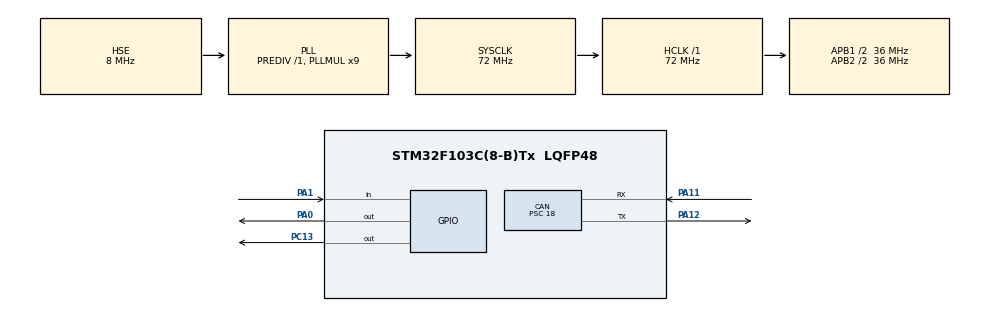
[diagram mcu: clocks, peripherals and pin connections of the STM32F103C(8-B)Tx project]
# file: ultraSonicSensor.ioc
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CAN.BS2=CAN_BS2_2TQ
CAN.CalculateBaudRate=500000
CAN.CalculateTimeBit=2000
CAN.CalculateTimeQuantum=500.0
CAN.Prescaler=18
Mcu.Family=STM32F1
Mcu.Name=STM32F103C(8-B)Tx
Mcu.Package=LQFP48
NVIC.PriorityGroup=NVIC_PRIORITYGROUP_4
PA0-WKUP.GPIO_PuPd=GPIO_NOPULL
PA0-WKUP.GPIO_Speed=GPIO_SPEED_FREQ_HIGH
PA0-WKUP.Signal=GPIO_Output
PA1.GPIO_PuPd=GPIO_NOPULL
PA1.Signal=GPIO_Input
PA11.Mode=CAN_Activate
PA11.Signal=CAN_RX
PA12.Mode=CAN_Activate
PA12.Signal=CAN_TX
PA13.Mode=Serial_Wire
PA13.Signal=SYS_JTMS-SWDIO
PA14.Mode=Serial_Wire
PA14.Signal=SYS_JTCK-SWCLK
PC13-TAMPER-RTC.GPIO_PuPd=GPIO_PULLDOWN
PC13-TAMPER-RTC.Signal=GPIO_Output
PC14-OSC32_IN.Mode=LSE-External-Oscillator
PC14-OSC32_IN.Signal=RCC_OSC32_IN
PC15-OSC32_OUT.Mode=LSE-External-Oscillator
PC15-OSC32_OUT.Signal=RCC_OSC32_OUT
PD0-OSC_IN.Mode=HSE-External-Oscillator
PD0-OSC_IN.Signal=RCC_OSC_IN
PD1-OSC_OUT.Mode=HSE-External-Oscillator
PD1-OSC_OUT.Signal=RCC_OSC_OUT
ProjectManager.HeapSize=0x200
ProjectManager.StackSize=0x400
ProjectManager.TargetToolchain=MDK-ARM V5.32
RCC.AHBFreq_Value=72000000
RCC.APB1CLKDivider=RCC_HCLK_DIV2
RCC.APB1Freq_Value=36000000
RCC.APB1TimFreq_Value=72000000
RCC.APB2CLKDivider=RCC_HCLK_DIV2
RCC.APB2Freq_Value=36000000
RCC.APB2TimFreq_Value=72000000
RCC.HCLKFreq_Value=72000000
RCC.PLLMUL=RCC_PLL_MUL9
RCC.PLLSourceVirtual=RCC_PLLSOURCE_HSE
RCC.SYSCLKFreq_VALUE=72000000
RCC.SYSCLKSource=RCC_SYSCLKSOURCE_PLLCLK
RCC.USBFreq_Value=72000000
TIM1.Prescaler=71
VP_TIM1_VS_ClockSourceINT.Mode=Internal
board=custom

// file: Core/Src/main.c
/* USER CODE BEGIN Header */
/**
  ******************************************************************************
  * @file           : main.c
  * @brief          : Main program body
  ******************************************************************************
  * @attention
  *
  * Copyright (c) 2023 STMicroelectronics.
  * All rights reserved.
  *
  * This software is licensed under terms that can be found in the LICENSE file
  * in the root directory of this software component.
  * If no LICENSE file comes with this software, it is provided AS-IS.
  *
  ******************************************************************************
  */
/* USER CODE END Header */
#include "main.h"

/* USER CODE BEGIN Includes */
#include "SR04.h"
/* USER CODE END Includes */

/* USER CODE BEGIN PTD */
SR04_Name SR04_1;
/* USER CODE END PTD */

/* USER CODE BEGIN PD */
#define MASTER_ID      			0x281
#define BACK_WHEEL_ID   		0x012
#define FRONT_WHEEL_ID   		0x274
#define BRAKE_ID      			0x222

/* USER CODE END PD */

CAN_HandleTypeDef hcan;

TIM_HandleTypeDef htim1;

/* USER CODE BEGIN PV */
// CAN protocol variable

CAN_TxHeaderTypeDef   TxHeader;
CAN_RxHeaderTypeDef   RxHeader;
uint8_t               TxData[8];
uint8_t               RxData[8];
uint32_t              TxMailbox;

// DETECT VARIABLE

/* USER CODE END PV */

void SystemClock_Config(void);
static void MX_GPIO_Init(void);
static void MX_TIM1_Init(void);
static void MX_CAN_Init(void);
/* USER CODE BEGIN PFP */
void WriteCAN(uint16_t ID,uint8_t *data);
void HAL_CAN_RxFifo0MsgPendingCallback(CAN_HandleTypeDef *hcan);
/* USER CODE END PFP */

int main(void)
{

  /* MCU Configuration--------------------------------------------------------*/

  /* Reset of all peripherals, Initializes the Flash interface and the Systick. */
  HAL_Init();

  /* Configure the system clock */
  SystemClock_Config();

  /* Initialize all configured peripherals */
  MX_GPIO_Init();
  MX_TIM1_Init();
  MX_CAN_Init();
  /* USER CODE BEGIN 2 */
	Init_SR04x(&SR04_1,&htim1,TIM1, GPIOA, GPIO_PIN_0, GPIOA, GPIO_PIN_1);

	HAL_CAN_Start(&hcan);
	HAL_CAN_ActivateNotification(&hcan, CAN_IT_RX_FIFO0_MSG_PENDING);

  TxHeader.DLC = 8;
  TxHeader.ExtId = 0;
  TxHeader.IDE = CAN_ID_STD;
  TxHeader.RTR = CAN_RTR_DATA;
  TxHeader.TransmitGlobalTime = DISABLE;

  /* USER CODE END 2 */

  /* Infinite loop */
  /* USER CODE BEGIN WHILE */
  while (1)
  {

		readDistance(&SR04_1, 100);

    /* USER CODE END WHILE */

  }
}

void SystemClock_Config(void)
{
  RCC_OscInitTypeDef RCC_OscInitStruct = {0};
  RCC_ClkInitTypeDef RCC_ClkInitStruct = {0};

  /** Initializes the RCC Oscillators according to the specified parameters
  * in the RCC_OscInitTypeDef structure.
  */
  RCC_OscInitStruct.OscillatorType = RCC_OSCILLATORTYPE_HSE;
  RCC_OscInitStruct.HSEState = RCC_HSE_ON;
  RCC_OscInitStruct.HSEPredivValue = RCC_HSE_PREDIV_DIV1;
  RCC_OscInitStruct.HSIState = RCC_HSI_ON;
  RCC_OscInitStruct.PLL.PLLState = RCC_PLL_ON;
  RCC_OscInitStruct.PLL.PLLSource = RCC_PLLSOURCE_HSE;
  RCC_OscInitStruct.PLL.PLLMUL = RCC_PLL_MUL9;
  if (HAL_RCC_OscConfig(&RCC_OscInitStruct) != HAL_OK)
  {
    Error_Handler();
  }

  /** Initializes the CPU, AHB and APB buses clocks
  */
  RCC_ClkInitStruct.ClockType = RCC_CLOCKTYPE_HCLK|RCC_CLOCKTYPE_SYSCLK
                              |RCC_CLOCKTYPE_PCLK1|RCC_CLOCKTYPE_PCLK2;
  RCC_ClkInitStruct.SYSCLKSource = RCC_SYSCLKSOURCE_PLLCLK;
  RCC_ClkInitStruct.AHBCLKDivider = RCC_SYSCLK_DIV1;
  RCC_ClkInitStruct.APB1CLKDivider = RCC_HCLK_DIV2;
  RCC_ClkInitStruct.APB2CLKDivider = RCC_HCLK_DIV2;

  if (HAL_RCC_ClockConfig(&RCC_ClkInitStruct, FLASH_LATENCY_2) != HAL_OK)
  {
    Error_Handler();
  }
}

static void MX_CAN_Init(void)
{

  hcan.Instance = CAN1;
  hcan.Init.Prescaler = 18;
  hcan.Init.Mode = CAN_MODE_NORMAL;
  hcan.Init.SyncJumpWidth = CAN_SJW_1TQ;
  hcan.Init.TimeSeg1 = CAN_BS1_1TQ;
  hcan.Init.TimeSeg2 = CAN_BS2_2TQ;
  hcan.Init.TimeTriggeredMode = DISABLE;
  hcan.Init.AutoBusOff = DISABLE;
  hcan.Init.AutoWakeUp = DISABLE;
  hcan.Init.AutoRetransmission = DISABLE;
  hcan.Init.ReceiveFifoLocked = DISABLE;
  hcan.Init.TransmitFifoPriority = DISABLE;
  if (HAL_CAN_Init(&hcan) != HAL_OK)
  {
    Error_Handler();
  }
  /* USER CODE BEGIN CAN_Init 2 */

	CAN_FilterTypeDef canfilterconfig;

  canfilterconfig.FilterActivation = CAN_FILTER_ENABLE;
  canfilterconfig.FilterBank = 10;
  canfilterconfig.FilterFIFOAssignment = CAN_RX_FIFO0;
  canfilterconfig.FilterIdHigh = 0x0000;
  canfilterconfig.FilterIdLow = 0x0000;
  canfilterconfig.FilterMaskIdHigh = 0x0000;
  canfilterconfig.FilterMaskIdLow = 0x0000;
  canfilterconfig.FilterMode = CAN_FILTERMODE_IDMASK;
  canfilterconfig.FilterScale = CAN_FILTERSCALE_32BIT;
  canfilterconfig.SlaveStartFilterBank = 13;

  HAL_CAN_ConfigFilter(&hcan, &canfilterconfig);

  /* USER CODE END CAN_Init 2 */

}

static void MX_TIM1_Init(void)
{

  TIM_ClockConfigTypeDef sClockSourceConfig = {0};
  TIM_MasterConfigTypeDef sMasterConfig = {0};

  htim1.Instance = TIM1;
  htim1.Init.Prescaler = 71;
  htim1.Init.CounterMode = TIM_COUNTERMODE_UP;
  htim1.Init.Period = 65535;
  htim1.Init.ClockDivision = TIM_CLOCKDIVISION_DIV1;
  htim1.Init.RepetitionCounter = 0;
  htim1.Init.AutoReloadPreload = TIM_AUTORELOAD_PRELOAD_DISABLE;
  if (HAL_TIM_Base_Init(&htim1) != HAL_OK)
  {
    Error_Handler();
  }
  sClockSourceConfig.ClockSource = TIM_CLOCKSOURCE_INTERNAL;
  if (HAL_TIM_ConfigClockSource(&htim1, &sClockSourceConfig) != HAL_OK)
  {
    Error_Handler();
  }
  sMasterConfig.MasterOutputTrigger = TIM_TRGO_RESET;
  sMasterConfig.MasterSlaveMode = TIM_MASTERSLAVEMODE_DISABLE;
  if (HAL_TIMEx_MasterConfigSynchronization(&htim1, &sMasterConfig) != HAL_OK)
  {
    Error_Handler();
  }

}

static void MX_GPIO_Init(void)
{
  GPIO_InitTypeDef GPIO_InitStruct = {0};

  /* GPIO Ports Clock Enable */
  __HAL_RCC_GPIOC_CLK_ENABLE();
  __HAL_RCC_GPIOD_CLK_ENABLE();
  __HAL_RCC_GPIOA_CLK_ENABLE();

  /*Configure GPIO pin Output Level */
  HAL_GPIO_WritePin(GPIOC, GPIO_PIN_13, GPIO_PIN_RESET);

  /*Configure GPIO pin Output Level */
  HAL_GPIO_WritePin(GPIOA, GPIO_PIN_0, GPIO_PIN_RESET);

  /*Configure GPIO pin : PC13 */
  GPIO_InitStruct.Pin = GPIO_PIN_13;
  GPIO_InitStruct.Mode = GPIO_MODE_OUTPUT_PP;
  GPIO_InitStruct.Pull = GPIO_PULLDOWN;
  GPIO_InitStruct.Speed = GPIO_SPEED_FREQ_LOW;
  HAL_GPIO_Init(GPIOC, &GPIO_InitStruct);

  /*Configure GPIO pin : PA0 */
  GPIO_InitStruct.Pin = GPIO_PIN_0;
  GPIO_InitStruct.Mode = GPIO_MODE_OUTPUT_PP;
  GPIO_InitStruct.Pull = GPIO_NOPULL;
  GPIO_InitStruct.Speed = GPIO_SPEED_FREQ_HIGH;
  HAL_GPIO_Init(GPIOA, &GPIO_InitStruct);

  /*Configure GPIO pin : PA1 */
  GPIO_InitStruct.Pin = GPIO_PIN_1;
  GPIO_InitStruct.Mode = GPIO_MODE_INPUT;
  GPIO_InitStruct.Pull = GPIO_NOPULL;
  HAL_GPIO_Init(GPIOA, &GPIO_InitStruct);

}

/* USER CODE BEGIN 4 */
void WriteCAN(uint16_t ID,uint8_t *data)
{
	uint8_t dataOut[8];
	TxHeader.StdId = ID;
	dataOut[0] = data[0];
	dataOut[1] = data[1];
	dataOut[2] = data[2];
	dataOut[3] = data[3];
	dataOut[4] = data[4];
	dataOut[5] = data[5];
	dataOut[6] = data[6];
	dataOut[7] = data[7];
	HAL_CAN_AddTxMessage(&hcan, &TxHeader, dataOut, &TxMailbox);

}
void HAL_CAN_RxFifo0MsgPendingCallback(CAN_HandleTypeDef *hcan)
{
	if(HAL_CAN_GetRxMessage(hcan, CAN_RX_FIFO0, &RxHeader, RxData)== HAL_OK)
	{
	}

}
/* USER CODE END 4 */

void Error_Handler(void)
{
  __disable_irq();
  while (1)
  {
  }
}
